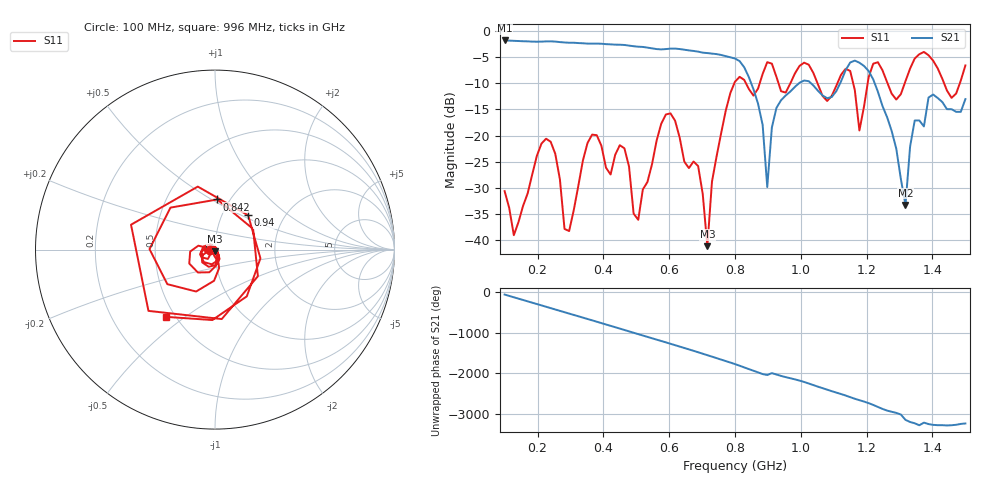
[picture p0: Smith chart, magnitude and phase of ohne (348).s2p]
! NanoVNA-App
! Date: 2025-09-25 14:23:30
! Start: 100MHz Stop: 1,5GHz Points: 101
! S-Parameter data: F S11 S21 S12 S22
# Hz S RI R 50
!  Frequency  S11_Real  S11_Imag  S21_Real  S21_Imag  S12_Real  S12_Imag  S22_Real  S22_Imag
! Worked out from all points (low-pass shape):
!   101 points, 100 MHz to 1.5 GHz, reference 50 ohm
!   highest |S21| = -1.79 dB at 100 MHz (marker M1); lowest = -33.3 dB at 1.318 GHz (marker M2)
!   |S21| within 3 dB of the highest: start of sweep to 771.5 MHz
!   lowest |S11| = -41.2 dB at 716 MHz (marker M3), VSWR 1.02, Z = 49.7 - j0.835 ohm
!   |S11| at or under -10 dB: start of sweep to 797.9 MHz; 833.3 MHz to 875.1 MHz (41.76 MHz wide, 4.89 % of centre); 1.051 GHz to 1.111 GHz (60.34 MHz wide, 5.58 % of centre) (the widest 3 of 7)
!   S12 and S22 are empty: the file has one direction only
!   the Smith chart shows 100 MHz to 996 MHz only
!   S11 on the Smith chart (normalised r, x): 100 MHz: 0.94, -0.01; 842 MHz: 0.88, +0.53; 940 MHz: 1.33, +0.55; 996 MHz: 0.44, -0.42
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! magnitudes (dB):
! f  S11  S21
! 100 MHz  -30.6  -1.8
! 128 MHz  -39.1  -1.9
! 226 MHz  -20.6  -2.0
! 296 MHz  -38.3  -2.2
! 338 MHz  -24.7  -2.3
! 464 MHz  -22.4  -2.7
! 506 MHz  -36.1  -3.0
! 576 MHz  -17.7  -3.5
! 688 MHz  -25.8  -3.9
! 716 MHz  -41.2  -4.2
! 800 MHz  -9.7  -5.3
! 842 MHz  -11.1  -8.8
! 898 MHz  -6.0  -29.9
! 940 MHz  -11.5  -13.2
! 996 MHz  -6.7  -9.9
! 1.038 GHz  -8.0  -10.4
! 1.178 GHz  -19.0  -6.1
! 1.22 GHz  -6.2  -9.3
! 1.276 GHz  -12.0  -19.1
! 1.318 GHz  -9.6  -33.3
! 1.346 GHz  -5.3  -17.1
! 1.5 GHz  -6.6  -13.0
